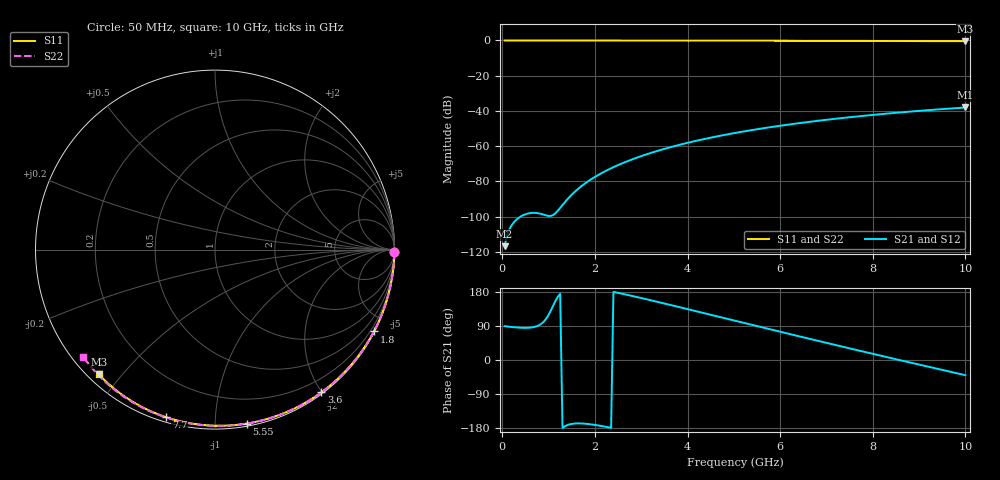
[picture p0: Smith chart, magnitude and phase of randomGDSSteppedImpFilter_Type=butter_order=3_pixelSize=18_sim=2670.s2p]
! freq	dB(S11)	phase(S11)	dB(S12)	phase(S12)
!  dB(S21)	phase(S21)	dB(S22)	phase(S22)
!S-par simulation data
#  GHz  S  DB  R 50
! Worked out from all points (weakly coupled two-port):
!   200 points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, 50 MHz to 10 GHz, reference 50 ohm
!   highest |S21| = -38.05 dB at 10 GHz (marker M1); lowest = -116.8 dB at 50 MHz (marker M2)
!   lowest |S11| = -0.4 dB at 10 GHz (marker M3), VSWR 38.94, Z = 1.53 - j21.8 ohm
!   |S11| at or under -10 dB: nowhere
!   |S22| runs from -0.5 to 0.0 dB; largest |S21 - S12| = 0
!   S11 on the Smith chart (normalised r, x): 50 MHz: open; 1.8 GHz: 0.04, -4.12; 3.6 GHz: 0.02, -1.99; 5.55 GHz: 0.02, -1.20; 7.7 GHz: 0.02, -0.75; 10 GHz: 0.03, -0.44
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0.05  -0.00 -0.8  -116.75 89.2  -116.75 89.2  -0.00 -0.8
0.45  -0.01 -6.9  -99.17 84.8  -99.17 84.8  -0.01 -7.3
0.9  -0.02 -13.8  -98.92 101.7  -98.92 101.7  -0.02 -14.6
1.75  -0.03 -26.5  -81.86 -167.8  -81.86 -167.8  -0.04 -28.1
1.8  -0.03 -27.3  -80.90 -168.3  -80.90 -168.3  -0.04 -28.8
1.85  -0.04 -28.0  -79.98 -168.9  -79.98 -168.9  -0.04 -29.6
2  -0.04 -30.2  -77.46 -171.3  -77.46 -171.3  -0.04 -32.0
2.15  -0.04 -32.4  -75.20 -174.3  -75.20 -174.3  -0.04 -34.3
2.35  -0.05 -35.4  -72.53 -179.0  -72.53 -179.0  -0.05 -37.4
2.55  -0.05 -38.3  -70.16 175.9  -70.16 175.9  -0.05 -40.5
2.95  -0.06 -44.1  -66.09 165.0  -66.09 165.0  -0.06 -46.6
3.4  -0.07 -50.5  -62.29 152.0  -62.29 152.0  -0.07 -53.3
3.6  -0.07 -53.3  -60.79 146.2  -60.79 146.2  -0.08 -56.3
4.3  -0.09 -63.0  -56.29 125.4  -56.29 125.4  -0.09 -66.5
5.05  -0.11 -73.0  -52.39 102.9  -52.39 102.9  -0.12 -77.1
5.55  -0.13 -79.6  -50.18 88.0  -50.18 88.0  -0.14 -84.0
6.1  -0.15 -86.6  -48.03 71.6  -48.03 71.6  -0.16 -91.4
6.7  -0.18 -94.1  -45.96 54.0  -45.96 54.0  -0.19 -99.3
7.7  -0.24 -106.2  -43.03 24.9  -43.03 24.9  -0.26 -112.2
8.35  -0.29 -113.9  -41.40 6.3  -41.40 6.3  -0.31 -120.4
9.2  -0.36 -123.8  -39.55 -17.7  -39.55 -17.7  -0.39 -130.9
10  -0.45 -132.9  -38.05 -40.1  -38.05 -40.1  -0.48 -140.8
